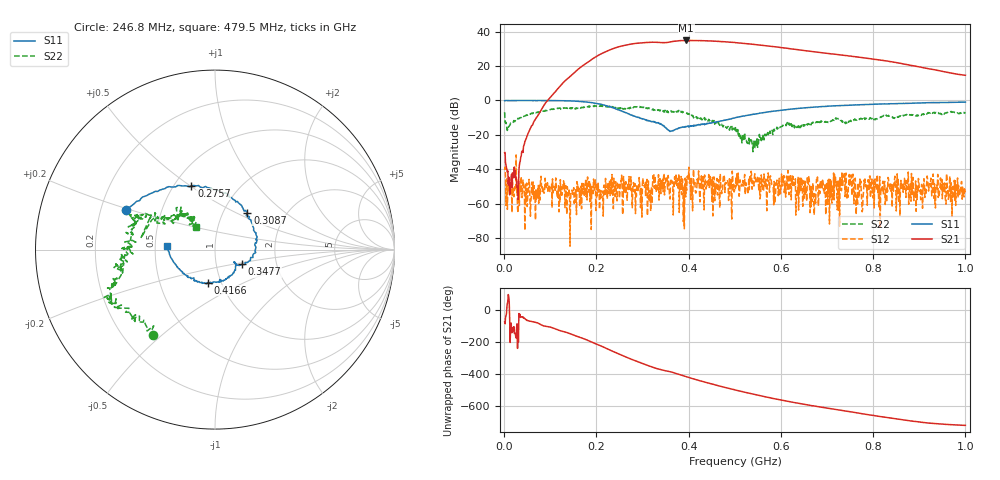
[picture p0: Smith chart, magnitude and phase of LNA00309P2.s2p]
! Created with skrf 1.9.0 (http://scikit-rf.org).
# Hz S RI R 50.0
!freq ReS11 ImS11 ReS21 ImS21 ReS12 ImS12 ReS22 ImS22
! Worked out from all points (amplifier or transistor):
!   1001 points, 1 MHz to 1 GHz, reference 50 ohm
!   highest |S21| = 34.9 dB at 394.6 MHz (marker M1)
!   |S21| within 3 dB of that: 258.5 MHz to 566.1 MHz (307.6 MHz wide, 74.6 % of centre)
!   unconditionally stable (mu >= 1): start of sweep to 78.77 MHz; 234.2 MHz to 274.6 MHz; 274.8 MHz to end of sweep (the widest 3 of 24)
!   at 166.8 MHz: K = 1.53, MAG = 30.3 dB, |S12| = -49.7 dB
!   at 500.5 MHz: K = 2.76, MAG = 34.3 dB, |S12| = -49.5 dB
!   at 1 GHz: K = 6.30, MAG = 22.6 dB, |S12| = -52.5 dB
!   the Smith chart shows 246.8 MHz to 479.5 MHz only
!   S11 on the Smith chart (normalised r, x): 246.8 MHz: 0.31, +0.19; 275.7 MHz: 0.61, +0.51; 308.7 MHz: 1.29, +0.58; 347.7 MHz: 1.33, -0.22; 416.6 MHz: 0.87, -0.33; 479.5 MHz: 0.58, +0.03
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1000000  0.9867 0.0106  0.0071 -0.0297  -0.00502 0.00828  0.3748 0.2656
1.08892e8  0.5082 -0.8532  -0.7831 -1.487  -0.00308 0.000181  0.4328 -0.3604
1.67833e8  -0.2599 -0.8914  -9.695 -0.5912  -4.58e-05 -0.000716  0.0471 -0.6221
2.11789e8  -0.6908 -0.3207  -15.05 17.66  0.000704 -0.00214  -0.1758 -0.6628
2.46754e8  -0.4939 0.2187  2.822 35.72  -0.00122 -0.00308  -0.3441 -0.4759
2.75725e8  -0.1314 0.3558  28.12 33.53  -0.00211 -0.00106  -0.5521 -0.3218
3.08692e8  0.1803 0.2064  47.21 11.55  -0.00184 0.00296  -0.5629 -0.1839
3.34666e8  0.2271 -0.0163  47.8 -9.762  -0.00459 0.00529  -0.5117 -0.0393
3.47653e8  0.15 -0.0816  44.78 -17.06  -0.00179 -0.000241  -0.4898 0.0188
3.7063e8  0.1152 -0.0822  42.84 -31.67  6.61e-05 0.00377  -0.4514 0.1451
3.94606e8  0.061 -0.1639  28.56 -47.59  0.00522 0.00187  -0.3825 0.1894
4.16584e8  -0.0376 -0.1834  11.63 -54.08  0.00218 -0.000459  -0.2837 0.1622
4.45555e8  -0.1725 -0.1328  -10.19 -52.63  0.00284 0.000996  -0.1705 0.1993
4.79521e8  -0.2674 0.0203  -30.16 -40.81  0.0041 -0.000276  -0.1034 0.1239
5.005e8  -0.2824 0.1382  -38.15 -29.85  0.00127 0.0031  -0.0819 0.1123
5.4046e8  -0.1969 0.3441  -41.9 -8.578  0.00391 -0.00169  -0.055 0.0221
5.88412e8  0.0142 0.4969  -34.41 11.43  0.00024 -0.00196  -0.1261 -0.0671
6.67333e8  0.3934 0.4974  -13.14 22.81  -0.000292 -0.00111  -0.2214 -0.0182
7.53247e8  0.6756 0.2881  3.274 18.95  -0.00133 -0.00386  -0.2523 0.00923
8.34166e8  0.8012 0.0246  9.871 9.541  0.00283 0.0023  -0.3533 0.0252
9.09091e8  0.8192 -0.235  8.651 2.238  -0.00277 0.000527  -0.342 0.1769
1e9  0.7333 -0.5178  5.395 -0.3372  0.00213 -0.00103  -0.3059 0.3299
